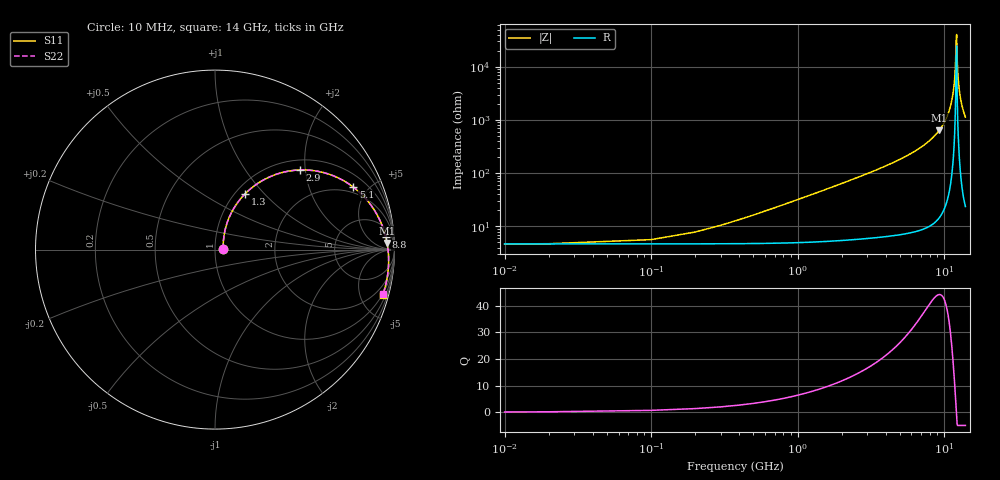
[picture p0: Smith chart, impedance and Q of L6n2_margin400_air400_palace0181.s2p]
! Created with skrf 2.2.0 (http://scikit-rf.org).
# GHz S DB R 50.0
! Port[1] = P1
! Port[2] = P2
!freq dBS11 angS11 dBS21 angS21 dBS12 angS12 dBS22 angS22
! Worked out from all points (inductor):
!   142 points, 10 MHz to 14 GHz, reference 50 ohm
!   read as one part in series: L = 4.98 nH near 500 MHz
!   highest Q = 44.2 at 9.3 GHz (marker M1), where L = 11 nH
!   self-resonance near 12.1 GHz
!   S11 on the Smith chart (normalised r, x): 10 MHz: 1.09, +0.01; 1.3 GHz: 1.11, +0.78; 2.9 GHz: 1.22, +1.87; 5.1 GHz: 1.64, +4.00; 8.8 GHz: 12, +19; 14 GHz: 0.94, -7.49
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0.01  -26.97 3.3  -0.40 -0.2  -0.40 -0.2  -26.97 3.6
0.6  -15.31 65.9  -0.59 -10.8  -0.59 -10.8  -15.31 65.9
1.3  -9.09 61.7  -1.11 -22.3  -1.11 -22.3  -9.09 61.7
2.4  -4.84 48.7  -2.40 -37.8  -2.40 -37.8  -4.84 48.7
2.9  -3.77 43.2  -3.11 -43.8  -3.11 -43.8  -3.77 43.2
4.7  -1.71 27.2  -6.04 -60.8  -6.04 -60.8  -1.71 27.2
5.1  -1.46 24.3  -6.75 -63.8  -6.75 -63.8  -1.46 24.3
7.1  -0.70 12.3  -10.67 -76.2  -10.67 -76.2  -0.70 12.3
8.8  -0.41 4.3  -14.92 -84.4  -14.92 -84.4  -0.41 4.3
9.3  -0.36 2.2  -16.50 -86.5  -16.50 -86.5  -0.36 2.2
9.4  -0.35 1.8  -16.84 -86.9  -16.84 -86.9  -0.35 1.8
10.9  -0.26 -4.1  -24.10 -92.3  -24.10 -92.3  -0.27 -4.1
11.7  -0.25 -7.0  -33.04 -93.0  -33.04 -93.0  -0.25 -7.0
11.9  -0.25 -7.8  -38.01 -90.8  -38.01 -90.8  -0.25 -7.8
12  -0.25 -8.1  -42.15 -87.1  -42.15 -87.1  -0.25 -8.1
12.1  -0.24 -8.5  -49.84 -71.4  -49.84 -71.4  -0.25 -8.5
12.2  -0.25 -8.8  -52.43 44.1  -52.43 44.1  -0.25 -8.8
12.3  -0.25 -9.2  -43.34 68.8  -43.34 68.8  -0.25 -9.2
12.4  -0.25 -9.5  -38.81 73.4  -38.81 73.4  -0.25 -9.5
12.7  -0.25 -10.6  -31.89 76.4  -31.89 76.4  -0.25 -10.6
13.2  -0.26 -12.3  -26.30 76.1  -26.30 76.1  -0.26 -12.3
14  -0.28 -15.0  -21.50 74.0  -21.50 74.0  -0.28 -15.0
